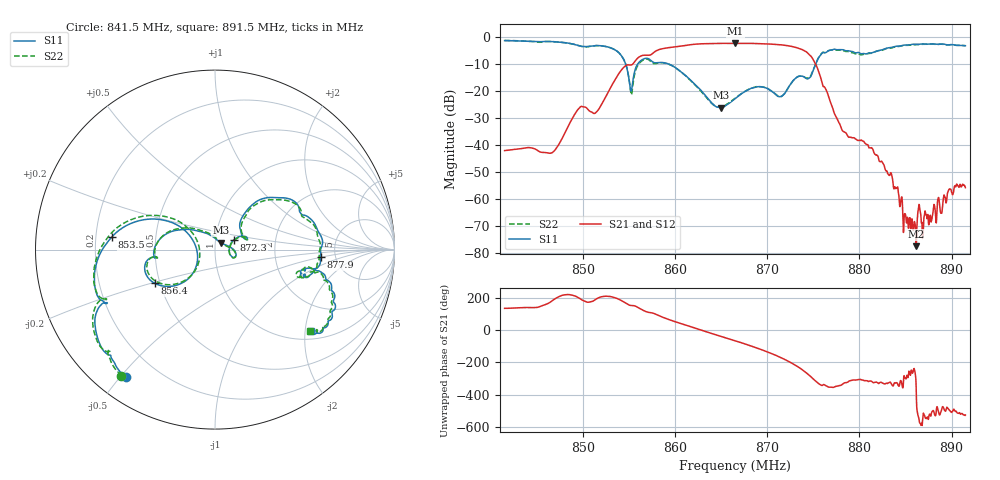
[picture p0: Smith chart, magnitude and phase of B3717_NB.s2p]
! Matrix data file written by TouchstoneData, EPCOS AG
! FILENAME: "B3717_NB.s2p"
! COMMENT: "Narrow Band s-parameters"
! INFO: nport=2, nfreq=1601
! DATE: "Fri Nov 29 16:29:37 2013"
! USER: "Ted Tang"
! port | pin | signal
!  1  |  2  |  in
!  2  |  5  |  out
# MHZ S MA R 50
! freq  magS11 angS11  magS21 angS21  magS12 angS12  magS22 angS22
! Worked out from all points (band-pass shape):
!   1601 points, 841.5 MHz to 891.5 MHz, reference 50 ohm
!   highest |S21| = -2.21 dB at 866.5 MHz (marker M1); lowest = -77.4 dB at 886.2 MHz (marker M2)
!   |S21| within 3 dB of the highest: 857.9 MHz to 874.2 MHz (16.31 MHz wide, 1.88 % of centre)
!   lowest |S11| = -26.1 dB at 865 MHz (marker M3), VSWR 1.10, Z = 53.1 + j4.08 ohm
!   |S11| at or under -10 dB: 854.6404 MHz to 855.9225 MHz (1.282 MHz wide, 0.15 % of centre); 859.4 MHz to 875.3 MHz (15.87 MHz wide, 1.83 % of centre)
!   |S22| runs from -25.9 to -1.2 dB; largest |S21 - S12| = 0.0026
!   S11 on the Smith chart (normalised r, x): 841.5 MHz: 0.09, -0.52; 853.5 MHz: 0.27, +0.06; 856.4 MHz: 0.47, -0.21; 872.3 MHz: 1.22, +0.13; 877.9 MHz: 3.81, -0.50; 891.5 MHz: 1.21, -2.14
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841.5  0.8673 -124.8  0.007943 133.3  0.007948 133.1  0.8741 -126.6
846.6562  0.8316 -140.3  0.007268 179.5  0.007263 179.5  0.8329 -141.6
849.8438  0.6784 -154.1  0.05234 -173.4  0.05229 -173.5  0.6754 -156.0
851.4375  0.704 -159.1  0.04086 -169.3  0.04088 -169.5  0.7016 -161.1
853.5312  0.5783 172.9  0.1683 -162.2  0.1682 -162.3  0.5797 170.2
855.25  0.1014 -163.8  0.3074 150.6  0.307 150.5  0.08569 -174.7
856.4375  0.385 -150.8  0.4595 123.9  0.4589 123.8  0.3704 -151.1
858.1875  0.3406 -173.2  0.5857 89.7  0.5849 89.5  0.3335 -173.0
862.0312  0.141 132.6  0.7409 13.4  0.7399 13.2  0.1371 128.0
865.0312  0.04968 50.4  0.7712 -40.7  0.77 -40.9  0.05133 40.6
866.5  0.07307 17.3  0.7754 -66.8  0.7742 -66.9  0.07408 12.1
866.5312  0.0738 16.8  0.7754 -67.4  0.7743 -67.5  0.07473 11.7
869.3438  0.121 -18.0  0.7625 -121.5  0.7616 -121.6  0.1213 -19.7
872.2812  0.117 27.1  0.696 166.4  0.6949 166.3  0.1164 25.9
873.7812  0.1902 18.4  0.5933 114.8  0.5925 114.7  0.1925 17.6
874.8438  0.2106 48.0  0.4234 64.6  0.423 64.5  0.2181 45.6
875.9062  0.5023 34.2  0.1523 17.1  0.1522 16.9  0.5051 31.5
877.9062  0.5905 -4.1  0.02374 16.6  0.0237 16.5  0.577 -7.3
883.1875  0.6384 -14.7  0.002802 33.2  0.0028 32.8  0.6264 -15.7
884.9375  0.7184 -22.2  0.0005373 63.8  0.0005357 62.9  0.7083 -22.7
886.1562  0.7378 -27.8  0.0001344 7.9  0.0001334 9.8  0.7268 -27.8
891.5  0.6983 -40.3  0.001633 -166.0  0.001626 -166.4  0.699 -40.7
